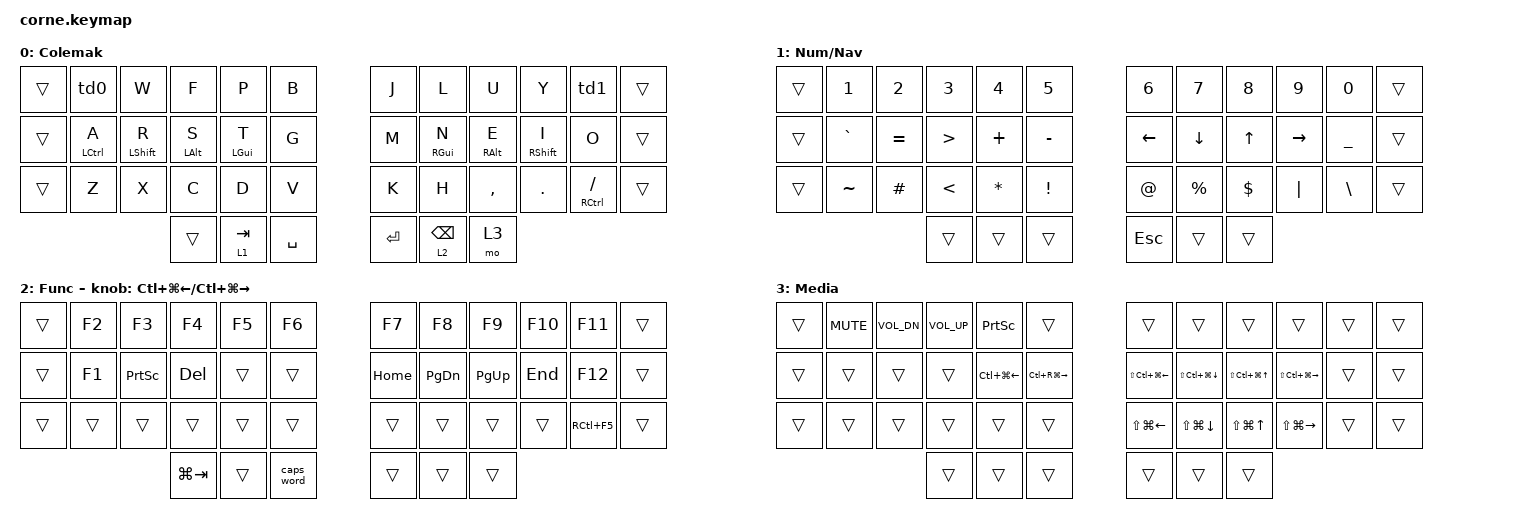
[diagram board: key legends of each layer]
/*
spawn-at-startup "vesktop" 
 * Copyright (c) 2020 The ZMK Contributors
 *
 * SPDX-License-Identifier: MIT
 */

#include <behaviors.dtsi>
#include <dt-bindings/zmk/keys.h>

#define DEFAULT 0
#define CM   1
#define NOMOd 2
#define LOWER  3
#define RAISE   4
#define ML   5


// Using layer taps on thumbs, having quick tap as well helps w/ repeating space/backspace

&lt { quick_tap_ms = <200>; };

/ {
    behaviors {
        // One behavior for both hands, so same-hand shortcuts still work:
        // Ctrl+A/Z/X/C/V are all left-hand-plus-left-hand on this layout, and
        // a positional hold-tap would resolve every one of them to a tap.
        //   balanced             - a hold fires as soon as the interrupting key
        //                          is released, instead of always waiting out
        //                          the tapping term the way tap-preferred did
        //   tapping-term 180     - fallback for a hold with nothing pressed
        //                          after it; was 280
        //   require-prior-idle   - pressed <80ms after another key it is a tap
        //                          instantly, which is what stops fast typing
        //                          from throwing modifiers. Was 150, then 125;
        //                          at 125 shift right after a space or letter
        //                          (capitalising mid-sentence) gave R about
        //                          half the time. If A/S/T/N/E/I start throwing
        //                          mods mid-word, raise it back toward 100.
        //   quick-tap 175        - re-tapping the same key stays a tap

        hm: homerow_mods {
            compatible = "zmk,behavior-hold-tap";
            label = "HOMEROW_MODS";
            #binding-cells = <2>;
            flavor = "balanced";
            tapping-term-ms = <180>;
            quick-tap-ms = <175>;
            require-prior-idle-ms = <80>;
            bindings = <&kp>, <&kp>;
        };

        td: tapdance {
            compatible = "zmk,behavior-hold-tap";
            label = "TAPDANCE";
            #binding-cells = <2>;
            tapping-term-ms = <150>;
            quick_tap_ms = <0>;
            flavor = "tap-preferred";
            bindings = <&kp>, <&kp>;
        };

        td1: tap_dance_1 {
            compatible = "zmk,behavior-tap-dance";
            label = "TAP_DANCE_1";
            #binding-cells = <0>;
            tapping-term-ms = <200>;
            bindings = <&kp SQT>, <&kp SEMI>;
        };

        td0: tap_dance_0 {
            compatible = "zmk,behavior-tap-dance";
            label = "TAP_DANCE_0";
            #binding-cells = <0>;
            tapping-term-ms = <200>;
            bindings = <&kp Q>, <&kp ESCAPE>;
        };

        caps_word: caps_word {
            compatible = "zmk,behavior-caps-word";
            label = "CAPS_WORD";
            #binding-cells = <0>;
            continue-list = <UNDERSCORE>;
        };
    };

    conditional_layers {
        compatible = "zmk,conditional-layers";
   
        tri_layer {
            if-layers = <1 2>;
            then-layer = <4>;
        };
    };

    macros {
        win_sleep: win_sleep {
            label = "win_sleep";
            compatible = "zmk,behavior-macro";
            #binding-cells = <0>;
            bindings = <&macro_press>, <&kp LG(X) &kp U &kp S>;
        };
    };

    combos {
        compatible = "zmk,combos";

        // Mirrored ring+middle pairs, opening on the left, closing on the right:
        //   row0   W+F -> [     U+Y -> ]
        //   row1   R+S -> (     E+I -> )
        //   row2   X+C -> {     ,+. -> }

        left_bracket {
            bindings = <&kp LEFT_BRACKET>;
            key-positions = <2 3>;
            layers = <0>;
        };

        left_par {
            bindings = <&kp LEFT_PARENTHESIS>;
            key-positions = <14 15>;
            layers = <0>;
        };

        left_brace {
            bindings = <&kp LEFT_BRACE>;
            key-positions = <26 27>;
            layers = <0>;
        };

        right_bracket {
            bindings = <&kp RIGHT_BRACKET>;
            key-positions = <8 9>;
            layers = <0>;
        };

        right_para {
            bindings = <&kp RIGHT_PARENTHESIS>;
            key-positions = <20 21>;
            layers = <0>;
        };

        right_brace {
            bindings = <&kp RIGHT_BRACE>;
            key-positions = <32 33>;
            layers = <0>;
        };

        esc_combo {
            bindings = <&kp ESC>;
            key-positions = <0 1>;
        };
    };

    keymap {
        compatible = "zmk,keymap";

        colemak_layer {
            display-name = "Colemak";

            // -----------------------------------------------------------------------------------------
            // |  TAB |  Q  |  W  |  F  |  P  |  B  |   |  J  |  L   |  U  |  Y  |  ;  | BKSP |
            // | CTRL |  A  |  R  |  S  |  T  |  G  |   |  M  |  N   |  E  |  I  |  O  |  '   |
            // | SHFT |  Z  |  X  |  C  |  D  |  V  |   |  K  |  H   |  ,  |  .  |  /  | SHFT |
            //                    | GUI |     | SPC |   | ENT |      | ALT |
            //
            // Home row mods (hold), mirrored pinky -> index.
            // Right pinky is plain O; RCTRL lives on / instead.
            //         CTRL SHFT ALT  GUI              GUI  ALT  SHFT  --
            //          A    R    S    T                N    E    I    O

            bindings = <
&trans  &td0         &kp W        &kp F       &kp P       &kp B          &kp J    &kp L            &kp U       &kp Y        &td1            &trans
&trans  &hm LCTRL A  &hm LSHFT R  &hm LALT S  &hm LGUI T  &kp G          &kp M    &hm RGUI N       &hm RALT E  &hm RSHFT I  &kp O           &trans
&trans  &kp Z        &kp X        &kp C       &kp D       &kp V          &kp K    &kp H            &kp COMMA   &kp DOT      &hm RCTRL FSLH  &trans
                                  &trans      &lt 1 TAB   &kp SPACE      &kp RET  &lt 2 BACKSPACE  &mo 3
            >;
        };

        lower_layer {
            display-name = "Num/Nav";

            // -----------------------------------------------------------------------------------------
            // |   `  |  1  |  2  |  3  |  4  |  5  |   |  6  |  7  |  8  |  9  |  0  | BKSP |
            // |      |     |     |     |     |     |   | LFT | DWN |  UP | RGT |  _  |   +  |
            // | SHFT |     |     |     |     |     |   |     |  -  |  =  |     |  \  | SHFT |
            //                    | GUI |     | SPC |   | ENT |     | ALT |

            bindings = <
&trans  &kp N1     &kp N2     &kp N3            &kp N4        &kp N5                 &kp N6       &kp N7       &kp N8      &kp N9     &kp N0         &trans
&trans  &kp GRAVE  &kp EQUAL  &kp GREATER_THAN  &kp PLUS      &kp MINUS              &kp LEFT     &kp DOWN     &kp UP      &kp RIGHT  &kp UNDER      &trans
&trans  &kp TILDE  &kp HASH   &kp LESS_THAN     &kp ASTERISK  &kp EXCL  &kp AT_SIGN  &kp PERCENT  &kp DOLLAR  &kp PIPE   &kp BACKSLASH  &trans
                              &trans            &trans        &trans                 &kp ESC      &trans       &trans
            >;
        };

        raise_layer {
            display-name = "Func";

            // -----------------------------------------------------------------------------------------
            // | ESC |  F2 |  F3  |  F4 |  F5 |  F6 |   | F7  |  F8 |  F9 | F10 | F11 | F12 | 
            // | F1  |     |      | DEL | HOME| END |   | PRT |     |     |     |     |     |
            // | SHFT |     |     |     | Vdwn|V_up |   |     |     |     |     |     | slp |
            //                    | GUI |     | SPC |   | ENT |     | ALT |

            bindings = <
&trans  &kp F2  &kp F3     &kp F4       &kp F5  &kp F6      &kp F7    &kp F8     &kp F9     &kp F10  &kp F11     &trans
&trans  &kp F1  &kp PSCRN  &kp DEL      &trans  &trans      &kp HOME  &kp PG_DN  &kp PG_UP  &kp END  &kp F12     &trans
&trans  &trans  &trans     &trans       &trans  &trans      &trans    &trans     &trans     &trans   &kp RC(F5)  &trans
                           &kp LG(TAB)  &trans  &caps_word  &trans    &trans     &trans
            >;

            sensor-bindings = <&inc_dec_kp LC(LG(LEFT)) LC(LG(RIGHT))>;
        };

        layer_4 {
            display-name = "Media";

            bindings = <
&trans  &kp K_MUTE  &kp K_VOL_DN  &kp K_VOL_UP  &kp PSCRN   &trans             &trans                &trans                &trans              &trans                 &trans  &trans
&trans  &trans      &trans        &trans        &kp LC(LG(LEFT))  &kp LC(RG(RIGHT))  &kp LS(LC(LG(LEFT)))  &kp LS(LC(LG(DOWN)))  &kp LS(LC(LG(UP)))  &kp LS(LC(LG(RIGHT)))  &trans  &trans
&trans  &trans      &trans        &trans        &trans            &trans             &kp LS(LG(LEFT))  &kp LS(LG(DOWN))  &kp LS(LG(UP))  &kp LS(LG(RIGHT))  &trans  &trans
                                  &trans        &trans            &trans             &trans                &trans                &trans
            >;
        };
    };
};
